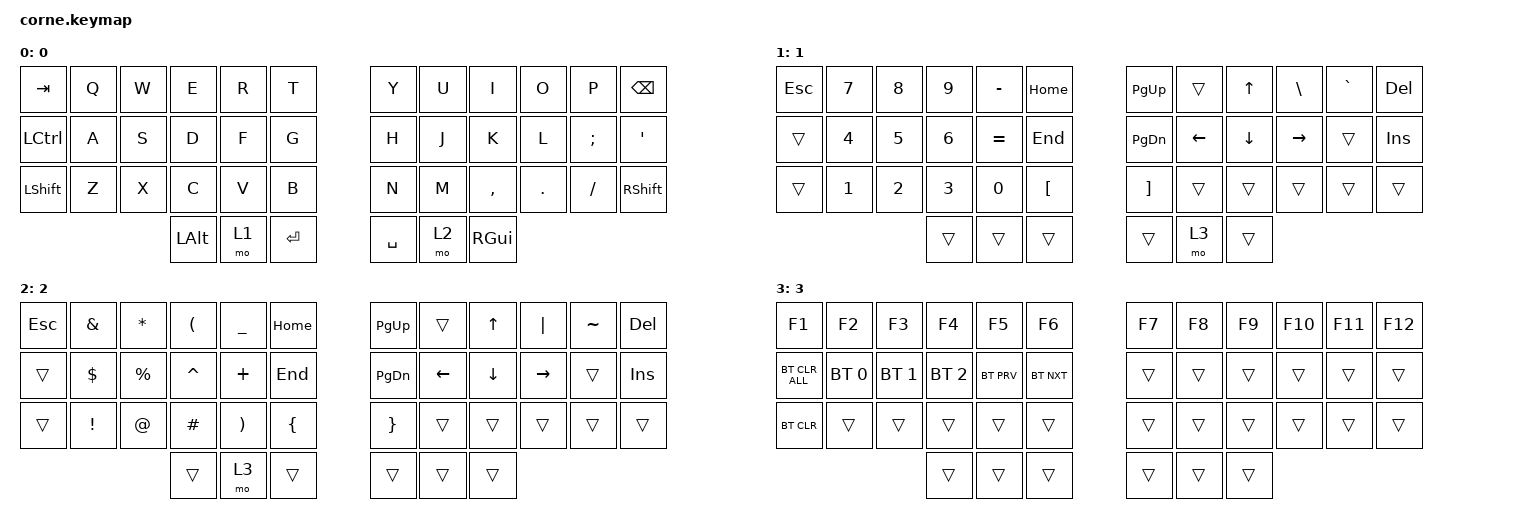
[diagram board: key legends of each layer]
/*
 * Copyright (c) 2020 The ZMK Contributors
 *
 * SPDX-License-Identifier: MIT
 */

#include <behaviors.dtsi>
#include <dt-bindings/zmk/keys.h>
#include <dt-bindings/zmk/bt.h>
#include <dt-bindings/zmk/outputs.h>
#include <dt-bindings/zmk/ext_power.h>
#include <dt-bindings/led/led.h>
#include <dt-bindings/zmk/backlight.h>
#include <dt-bindings/zmk/rgb.h>
#include <dt-bindings/zmk/reset.h>

// &led_strip {
//     chain-length = <27>;
// };

/ {
    keymap {
        compatible = "zmk,keymap";

        default_layer {
            display-name = "0";
            // -----------------------------------------------------------------------------------------
            // |  TAB |  Q  |  W  |  E  |  R  |  T  |   |  Y  |  U   |  I  |  O  |  P  | BKSP |
            // | CTRL |  A  |  S  |  D  |  F  |  G  |   |  H  |  J   |  K  |  L  |  ;  |  '   |
            // | SHFT |  Z  |  X  |  C  |  V  |  B  |   |  N  |  M   |  ,  |  .  |  /  | SHFT |
            //                    | ALT | LWR | ENT |   | SPC | RSE  | GUI |

            bindings = <
&kp TAB    &kp Q  &kp W  &kp E     &kp R  &kp T        &kp Y     &kp U  &kp I      &kp O    &kp P     &kp BSPC
&kp LCTRL  &kp A  &kp S  &kp D     &kp F  &kp G        &kp H     &kp J  &kp K      &kp L    &kp SEMI  &kp SQT
&kp LSHFT  &kp Z  &kp X  &kp C     &kp V  &kp B        &kp N     &kp M  &kp COMMA  &kp DOT  &kp FSLH  &kp RSHFT
                         &kp LALT  &mo 1  &kp RET      &kp SPACE &mo 2  &kp RGUI
            >;
        };

        lower_layer {
            display-name = "1";
            // -----------------------------------------------------------------------------------------
            // |  ESC |  7  |  8  |  9  |  -  | HOME|   | PGUP|     |  UP |  \  |  `  | DEL  |
            // |      |  4  |  5  |  6  |  =  | END |   | PGDN| LEFT| DOWN| RGT |     | INS  |
            // |      |  1  |  2  |  3  |  0  |  [  |   |  ]  |     |     |     |     |      |
            //                    |     |     |     |   |     |UPPER|     |

            bindings = <
&kp ESC     &kp N7    &kp N8     &kp N9    &kp MINUS    &kp HOME          &kp PG_UP     &trans    &kp UP     &kp BSLH   &kp GRAVE  &kp DEL
&trans      &kp N4    &kp N5     &kp N6    &kp EQUAL    &kp END           &kp PG_DN     &kp LEFT  &kp DOWN   &kp RIGHT  &trans     &kp INS
&trans      &kp N1    &kp N2     &kp N3    &kp N0       &kp LBKT          &kp RBKT      &trans    &trans     &trans     &trans     &trans
                                 &trans    &trans       &trans            &trans        &mo 3     &trans
            >;
        };

        raise_layer {
            display-name = "2";
            // -----------------------------------------------------------------------------------------
            // |  ESC |  &  |  *  |  (  |  _  | HOME|   | PGUP|     |  UP |  |  |  ~  | DEL  |
            // |      |  $  |  %  |  ^  |  +  | END |   | PGDN| LEFT| DOWN| RGT |     | INS  |
            // |      |  !  |  @  |  #  |  )  |  {  |   |  }  |     |     |     |     |      |
            //                    |     |UPPER|     |   |     |     |     |

            bindings = <
&kp ESC    &kp AMPS  &kp ASTRK     &kp LPAR   &kp UNDER   &kp HOME    &kp PG_UP  &trans    &kp UP      &kp PIPE   &kp TILDE  &kp DEL
&trans     &kp DLLR  &kp PRCNT     &kp CARET  &kp PLUS    &kp END     &kp PG_DN  &kp LEFT  &kp DOWN    &kp RIGHT  &trans     &kp INS
&trans     &kp EXCL  &kp AT        &kp HASH   &kp RPAR    &kp LBRC    &kp RBRC   &trans    &trans      &trans     &trans     &trans
                                   &trans     &mo 3       &trans      &trans     &trans    &trans
            >;
        };
        adjust_layer {
            display-name = "3";
            // -----------------------------------------------------------------------------------------
            // |  F1  |  F2 |  F3 |  F4 |  F5 |  F6 |   |  F7 |  F8 |  F9 | F10 | F11 | F12  |
            // |BTCLA | BT0 | BT1 | BT2 |BTPR |BTNT |   |     |     |     |     |     |      |
            // | BTCL |     |     |     |     |     |   |     |     |     |     |     |      |
            //                    |     |     |     |   |     |     |     |

            bindings = <
&kp F1         &kp F2        &kp F3        &kp F4        &kp F5      &kp F6          &kp F7    &kp F8     &kp F9    &kp F10   &kp F11  &kp F12
&bt BT_CLR_ALL &bt BT_SEL 0  &bt BT_SEL 1  &bt BT_SEL 2  &bt BT_PRV  &bt BT_NXT      &trans    &trans     &trans    &trans    &trans   &trans
&bt BT_CLR     &trans        &trans        &trans        &trans      &trans          &trans    &trans     &trans    &trans    &trans   &trans
                                           &trans        &trans      &trans          &trans    &trans     &trans
            >;
        };

        // extra_1 {
        //     status = "reserved";
        // };

        // extra_2 {
        //     status = "reserved";
        // };

        // extra_3 {
        //     status = "reserved";
        // };
    };
};
